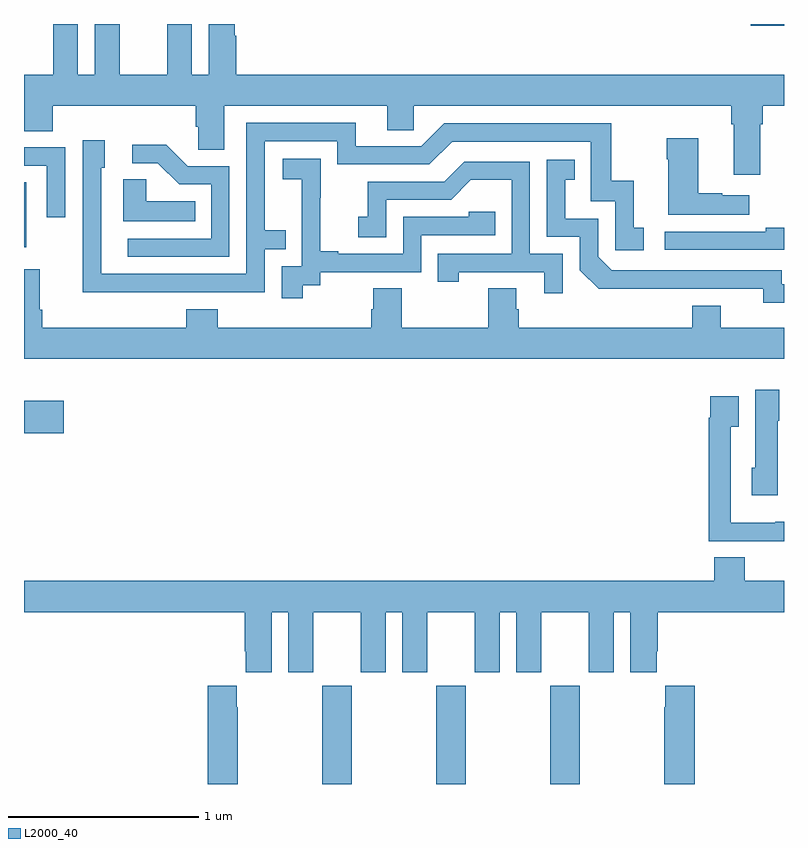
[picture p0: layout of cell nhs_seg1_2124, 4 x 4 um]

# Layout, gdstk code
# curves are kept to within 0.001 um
import gdstk
lib = gdstk.Library(unit=1e-6, precision=1e-09)
def R(c, l, rs):  # rectangles x0, y0, x1, y1
    for r in rs: c.add(gdstk.rectangle(r[:2], r[2:], *l))
def A(c, l, x, y, w, h, nx, ny, dx, dy):  # array of equal rectangles
    R(c, l, [(x+i*dx, y+j*dy, x+i*dx+w, y+j*dy+h) for i in range(nx) for j in range(ny)])
def P(c, l, *ps):  # polygons
    for p in ps: c.add(gdstk.Polygon(p, *l))
L2000_40 = (2000, 40)

nhs_seg1_2124 = lib.new_cell('nhs_seg1_2124')
A(nhs_seg1_2124, L2000_40, 228.571, 512.199, 0.155, 0.517, 3, 1, 0.6, 0)
R(nhs_seg1_2124, L2000_40, [(227,514.046,227.209,514.216), (227,515.025,227.011,515.365), (230.826,516.191,231,516.199)])
P(nhs_seg1_2124, L2000_40, [(230.875,515.672),(230.888,515.672),(230.888,515.768),(231,515.768),(231,515.932),(228.116,515.932),(228.116,516.137),(228.109,516.137),(228.109,516.199),(227.972,516.199),(227.972,515.932),(227.884,515.932),(227.884,516.199),(227.753,516.199),(227.753,515.932),(227.503,515.932),(227.503,516.199),(227.372,516.199),(227.372,515.932),(227.284,515.932),(227.284,516.199),(227.153,516.199),(227.153,515.932),(227,515.932),(227,515.635),(227.15,515.635),(227.15,515.768),(227.903,515.768),(227.903,515.659),(227.916,515.659),(227.916,515.536),(228.055,515.536),(228.055,515.768),(228.911,515.768),(228.911,515.641),(229.05,515.641),(229.05,515.768),(230.723,515.768),(230.723,515.672),(230.735,515.672),(230.735,515.406),(230.875,515.406)],
  [(227.771,514.788),(228.267,514.788),(228.267,515.013),(228.377,515.013),(228.377,515.114),(228.267,515.114),(228.267,515.583),(228.648,515.583),(228.648,515.46),(229.134,515.46),(229.254,515.58),(229.983,515.58),(229.983,515.265),(230.112,515.265),(230.112,515.007),(230.263,515.007),(230.263,515.127),(230.21,515.127),(230.21,515.374),(230.092,515.374),(230.092,515.676),(229.212,515.676),(229.092,515.556),(228.745,515.556),(228.745,515.679),(228.171,515.679),(228.171,514.884),(227.406,514.884),(227.406,515.442),(227.425,515.442),(227.425,515.587),(227.31,515.587),(227.31,515.093),(227.308,515.093),(227.308,514.787)],
  [(230.818,515.299),(230.675,515.299),(230.675,515.309),(230.548,515.309),(230.548,515.599),(230.383,515.599),(230.383,515.486),(230.39,515.486),(230.39,515.195),(230.818,515.195)],
  [(228.081,515.451),(227.862,515.451),(227.749,515.564),(227.571,515.564),(227.571,515.466),(227.705,515.466),(227.816,515.355),(227.985,515.355),(227.985,515.07),(227.547,515.07),(227.547,514.974),(228.081,514.974)],
  [(227.217,515.55),(227,515.55),(227,515.454),(227.121,515.454),(227.121,515.181),(227.217,515.181)],
  [(228.466,514.825),(228.558,514.825),(228.558,514.893),(229.092,514.893),(229.092,515.088),(229.481,515.088),(229.481,515.211),(229.341,515.211),(229.341,515.184),(228.996,515.184),(228.996,514.989),(228.655,514.989),(228.655,515.002),(228.56,515.002),(228.56,515.285),(228.561,515.285),(228.561,515.491),(228.363,515.491),(228.363,515.381),(228.461,515.381),(228.461,515.153),(228.462,515.153),(228.462,514.923),(228.357,514.923),(228.357,514.755),(228.466,514.755)],
  [(231,514.83),(230.988,514.83),(230.988,514.902),(230.094,514.902),(230.022,514.974),(230.022,515.175),(229.849,515.175),(229.849,515.379),(229.898,515.379),(229.898,515.485),(229.752,515.485),(229.752,515.079),(229.926,515.079),(229.926,514.902),(230.024,514.805),(230.892,514.806),(230.892,514.733),(231,514.733)],
  [(229.836,514.989),(229.662,514.989),(229.662,515.475),(229.316,515.475),(229.211,515.37),(228.808,515.37),(228.808,515.185),(228.759,515.185),(228.759,515.076),(228.906,515.076),(228.906,515.274),(229.248,515.274),(229.352,515.378),(229.566,515.378),(229.566,514.989),(229.177,514.989),(229.177,514.842),(229.288,514.842),(229.288,514.893),(229.739,514.893),(229.739,514.782),(229.836,514.782)],
  [(227.9,515.266),(227.643,515.266),(227.643,515.381),(227.522,515.381),(227.522,515.162),(227.9,515.162)],
  [(231,515.126),(230.905,515.126),(230.905,515.106),(230.373,515.106),(230.373,515.01),(231,515.01)],
  [(231,514.6),(230.668,514.6),(230.668,514.717),(230.516,514.717),(230.516,514.6),(229.604,514.6),(229.604,514.698),(229.591,514.698),(229.591,514.808),(229.444,514.808),(229.444,514.6),(228.987,514.6),(228.987,514.808),(228.839,514.808),(228.839,514.698),(228.827,514.698),(228.827,514.6),(228.02,514.6),(228.02,514.699),(227.855,514.699),(227.855,514.6),(227.096,514.6),(227.096,514.696),(227.083,514.696),(227.083,514.909),(227,514.909),(227,514.436),(231,514.436)],
  [(230.968,514.11),(230.974,514.11),(230.974,514.273),(230.849,514.273),(230.849,513.864),(230.831,513.864),(230.831,513.72),(230.968,513.72)],
  [(231,513.58),(230.955,513.58),(230.955,513.574),(230.721,513.574),(230.721,514.079),(230.761,514.079),(230.761,514.24),(230.613,514.24),(230.613,514.127),(230.605,514.127),(230.605,513.477),(230.855,513.477),(230.855,513.476),(231,513.476)],
  [(228.304,513.104),(228.392,513.104),(228.392,512.787),(228.523,512.787),(228.523,513.104),(228.773,513.104),(228.773,512.787),(228.904,512.787),(228.904,513.104),(228.992,513.104),(228.992,512.787),(229.123,512.787),(229.123,513.104),(229.373,513.104),(229.373,512.787),(229.504,512.787),(229.504,513.104),(229.592,513.104),(229.592,512.787),(229.723,512.787),(229.723,513.104),(229.973,513.104),(229.973,512.787),(230.104,512.787),(230.104,513.104),(230.192,513.104),(230.192,512.787),(230.329,512.787),(230.329,512.899),(230.336,512.899),(230.336,513.104),(231,513.104),(231,513.268),(230.793,513.268),(230.793,513.392),(230.633,513.392),(230.633,513.268),(227,513.268),(227,513.104),(228.161,513.104),(228.161,512.899),(228.167,512.899),(228.167,512.787),(228.304,512.787)],
  [(230.531,512.716),(230.375,512.716),(230.375,512.603),(230.371,512.603),(230.371,512.199),(230.531,512.199)],
  [(228.126,512.603),(228.121,512.603),(228.121,512.716),(227.966,512.716),(227.966,512.199),(228.126,512.199)])

lib.write_gds('nhs_seg1_2124.gds')
